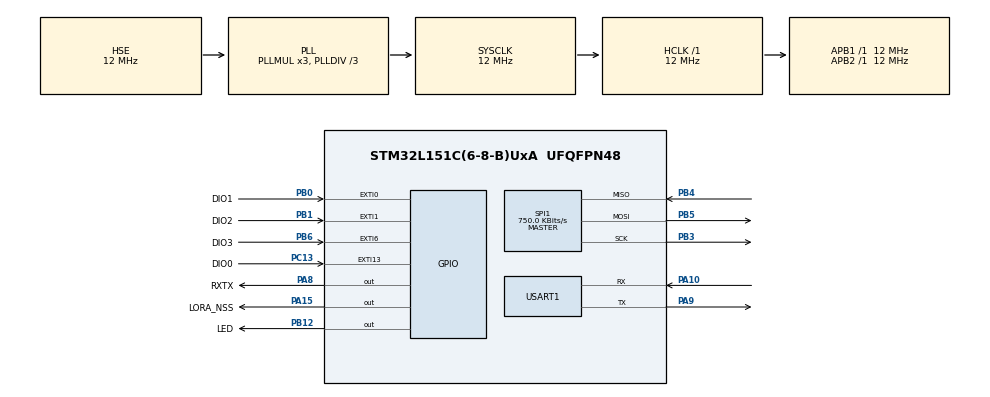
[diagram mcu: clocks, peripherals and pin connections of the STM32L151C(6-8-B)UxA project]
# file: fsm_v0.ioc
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FREERTOS.INCLUDE_vTaskDelayUntil=1
FREERTOS.INCLUDE_xTaskGetCurrentTaskHandle=1
FREERTOS.Tasks01=init,0,128,INIT,As weak,NULL,Dynamic,NULL,NULL
FREERTOS.configGENERATE_RUN_TIME_STATS=1
FREERTOS.configIDLE_SHOULD_YIELD=0
FREERTOS.configTIMER_TASK_PRIORITY=2
FREERTOS.configTIMER_TASK_STACK_DEPTH=128
FREERTOS.configUSE_IDLE_HOOK=0
FREERTOS.configUSE_MUTEXES=0
FREERTOS.configUSE_NEWLIB_REENTRANT=0
FREERTOS.configUSE_STATS_FORMATTING_FUNCTIONS=1
FREERTOS.configUSE_TASK_NOTIFICATIONS=1
FREERTOS.configUSE_TICKLESS_IDLE=0
FREERTOS.configUSE_TICK_HOOK=1
FREERTOS.configUSE_TRACE_FACILITY=1
Mcu.Family=STM32L1
Mcu.Name=STM32L151C(6-8-B)UxA
Mcu.Package=UFQFPN48
Mcu.UserConstants=BUFFER_SIZE,8
NVIC.EXTI0_IRQn=true\:6\:0\:true\:false\:true\:true\:true\:true\:true
NVIC.EXTI15_10_IRQn=true\:6\:0\:true\:false\:true\:true\:true\:true\:true
NVIC.EXTI1_IRQn=true\:6\:0\:true\:false\:true\:true\:true\:true\:true
NVIC.EXTI9_5_IRQn=true\:6\:0\:true\:false\:true\:true\:true\:true\:true
NVIC.PriorityGroup=NVIC_PRIORITYGROUP_4
NVIC.TIM2_IRQn=true\:15\:0\:true\:false\:true\:false\:false\:true\:true
NVIC.TIM3_IRQn=true\:1\:0\:true\:false\:true\:false\:true\:true\:true
NVIC.TimeBase=TIM2_IRQn
NVIC.TimeBaseIP=TIM2
NVIC.USART1_IRQn=true\:6\:0\:true\:false\:true\:true\:true\:true\:true
PA10.GPIO_PuPd=GPIO_PULLUP
PA10.Mode=Asynchronous
PA10.Signal=USART1_RX
PA15.GPIO_Label=LORA_NSS
PA15.GPIO_Speed=GPIO_SPEED_FREQ_VERY_HIGH
PA15.PinState=GPIO_PIN_SET
PA15.Signal=GPIO_Output
PA8.GPIO_Label=RXTX
PA8.GPIO_Speed=GPIO_SPEED_FREQ_VERY_HIGH
PA8.PinState=GPIO_PIN_RESET
PA8.Signal=GPIO_Output
PA9.GPIO_PuPd=GPIO_PULLUP
PA9.Mode=Asynchronous
PA9.Signal=USART1_TX
PB0.GPIO_Label=DIO1
PB0.Signal=GPXTI0
PB1.GPIO_Label=DIO2
PB1.Signal=GPXTI1
PB12.GPIO_Label=LED
PB12.GPIO_PuPd=GPIO_NOPULL
PB12.GPIO_Speed=GPIO_SPEED_FREQ_VERY_HIGH
PB12.PinState=GPIO_PIN_RESET
PB12.Signal=GPIO_Output
PB3.Mode=Full_Duplex_Master
PB3.Signal=SPI1_SCK
PB4.Mode=Full_Duplex_Master
PB4.Signal=SPI1_MISO
PB5.Mode=Full_Duplex_Master
PB5.Signal=SPI1_MOSI
PB6.GPIO_Label=DIO3
PB6.Signal=GPXTI6
PC13-WKUP2.GPIO_Label=DIO0
PC13-WKUP2.Signal=GPXTI13
PH0-OSC_IN.Mode=HSE-External-Oscillator
PH0-OSC_IN.Signal=RCC_OSC_IN
PH1-OSC_OUT.Mode=HSE-External-Oscillator
PH1-OSC_OUT.Signal=RCC_OSC_OUT
ProjectManager.HeapSize=0x200
ProjectManager.StackSize=0x400
ProjectManager.TargetToolchain=MDK-ARM V5.27
RCC.48MHZClocksFreq_Value=18000000
RCC.AHBFreq_Value=12000000
RCC.APB1Freq_Value=12000000
RCC.APB1TimFreq_Value=12000000
RCC.APB2Freq_Value=12000000
RCC.APB2TimFreq_Value=12000000
RCC.HCLKFreq_Value=12000000
RCC.HSE_VALUE=12000000
RCC.HSI_VALUE=16000000
RCC.LSE_VALUE=32768
RCC.MSI_VALUE=2097000
RCC.PLLDIV=RCC_PLL_DIV3
RCC.PLLSourceVirtual=RCC_PLLSOURCE_HSE
RCC.SYSCLKFreq_VALUE=12000000
RCC.SYSCLKSource=RCC_SYSCLKSOURCE_PLLCLK
RCC.VCOOutputFreq_Value=36000000
SPI1.BaudRatePrescaler=SPI_BAUDRATEPRESCALER_16
SPI1.CRCCalculation=SPI_CRCCALCULATION_DISABLE
SPI1.CalculateBaudRate=750.0 KBits/s
SPI1.Direction=SPI_DIRECTION_2LINES
SPI1.Mode=SPI_MODE_MASTER
SPI1.VirtualType=VM_MASTER
TIM3.Period=19
TIM3.Prescaler=5
USART1.VirtualMode=VM_ASYNC
VP_FREERTOS_VS_CMSIS_V1.Mode=CMSIS_V1
VP_SYS_VS_tim2.Mode=TIM2
VP_TIM3_VS_ClockSourceINT.Mode=Internal
board=custom

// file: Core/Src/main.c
/* USER CODE BEGIN Header */
/**
  ******************************************************************************
  * @file           : main.c
  * @brief          : Main program body
  ******************************************************************************
  * @attention
  *
  * Copyright (c) 2022 STMicroelectronics.
  * All rights reserved.
  *
  * This software is licensed under terms that can be found in the LICENSE file
  * in the root directory of this software component.
  * If no LICENSE file comes with this software, it is provided AS-IS.
  *
  ******************************************************************************
  */
/* USER CODE END Header */
#include "main.h"
#include "cmsis_os.h"
#include "spi.h"
#include "tim.h"
#include "usart.h"
#include "gpio.h"

void SystemClock_Config(void);
void MX_FREERTOS_Init(void);

int main(void)
{

  /* MCU Configuration--------------------------------------------------------*/

  /* Reset of all peripherals, Initializes the Flash interface and the Systick. */
  HAL_Init();

  /* Configure the system clock */
  SystemClock_Config();

  /* Initialize all configured peripherals */
  MX_GPIO_Init();
  MX_USART1_UART_Init();
  MX_SPI1_Init();
  MX_TIM3_Init();

  /* Call init function for freertos objects (in freertos.c) */
  MX_FREERTOS_Init();

  /* Start scheduler */
  osKernelStart();

  /* We should never get here as control is now taken by the scheduler */
  /* Infinite loop */
  while (1)
  {

  }
}

void SystemClock_Config(void)
{
  RCC_OscInitTypeDef RCC_OscInitStruct = {0};
  RCC_ClkInitTypeDef RCC_ClkInitStruct = {0};

  /** Configure the main internal regulator output voltage
  */
  __HAL_PWR_VOLTAGESCALING_CONFIG(PWR_REGULATOR_VOLTAGE_SCALE1);

  /** Initializes the RCC Oscillators according to the specified parameters
  * in the RCC_OscInitTypeDef structure.
  */
  RCC_OscInitStruct.OscillatorType = RCC_OSCILLATORTYPE_HSE;
  RCC_OscInitStruct.HSEState = RCC_HSE_ON;
  RCC_OscInitStruct.PLL.PLLState = RCC_PLL_ON;
  RCC_OscInitStruct.PLL.PLLSource = RCC_PLLSOURCE_HSE;
  RCC_OscInitStruct.PLL.PLLMUL = RCC_PLL_MUL3;
  RCC_OscInitStruct.PLL.PLLDIV = RCC_PLL_DIV3;
  if (HAL_RCC_OscConfig(&RCC_OscInitStruct) != HAL_OK)
  {
    Error_Handler();
  }

  /** Initializes the CPU, AHB and APB buses clocks
  */
  RCC_ClkInitStruct.ClockType = RCC_CLOCKTYPE_HCLK|RCC_CLOCKTYPE_SYSCLK
                              |RCC_CLOCKTYPE_PCLK1|RCC_CLOCKTYPE_PCLK2;
  RCC_ClkInitStruct.SYSCLKSource = RCC_SYSCLKSOURCE_PLLCLK;
  RCC_ClkInitStruct.AHBCLKDivider = RCC_SYSCLK_DIV1;
  RCC_ClkInitStruct.APB1CLKDivider = RCC_HCLK_DIV1;
  RCC_ClkInitStruct.APB2CLKDivider = RCC_HCLK_DIV1;

  if (HAL_RCC_ClockConfig(&RCC_ClkInitStruct, FLASH_LATENCY_0) != HAL_OK)
  {
    Error_Handler();
  }
}

void HAL_TIM_PeriodElapsedCallback(TIM_HandleTypeDef *htim)
{
  if (htim->Instance == TIM2) {
    HAL_IncTick();
  }
  /* USER CODE BEGIN Callback 1 */
  if (htim->Instance == TIM3) {
    CPU_RunTime++;
  }
  /* USER CODE END Callback 1 */
}

void Error_Handler(void)
{
  __disable_irq();
  while (1)
  {
  }
}

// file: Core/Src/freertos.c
/* USER CODE BEGIN Header */
/**
  ******************************************************************************
  * File Name          : freertos.c
  * Description        : Code for freertos applications
  ******************************************************************************
  * @attention
  *
  * Copyright (c) 2022 STMicroelectronics.
  * All rights reserved.
  *
  * This software is licensed under terms that can be found in the LICENSE file
  * in the root directory of this software component.
  * If no LICENSE file comes with this software, it is provided AS-IS.
  *
  ******************************************************************************
  */
// main.h -> hal_library, PIN;
/* USER CODE END Header */

#include "FreeRTOS.h"
#include "task.h"
#include "main.h"
#include "cmsis_os.h"

/* USER CODE BEGIN Includes */
#include "timers.h"
#include "usart.h"
#include "queue.h"
#include <stdio.h>
#include "fsm.h"
#include <stdbool.h>
#include "tim.h"
#include <string.h>
/* USER CODE END Includes */

/* USER CODE BEGIN PTD */
// #define DEBUG          // debug info
// #define FSM_TEST       // test fsm model
// #define MULI_TASK_FSM  // test multi-task model
// #define LED_FSM        // LED FSM
#define DATA_MOD_FSM   // Data Collection Module FSM

#ifdef MULI_TASK_FSM
typedef enum {Sensor1, Sensor2, Sensor3} LAYER1EVENT;
#endif

#ifdef LED_FSM
enum xEventSignals {
  TIMEOUT_SIG = USER_SIG
};

typedef struct {
  xActive super;
  xTimeEvent te;
  bool is_led_on;
  uint32_t blink_time;
} xLedFsm;
#endif

#ifdef DATA_MOD_FSM
#define STACK_SIZE (configMINIMAL_STACK_SIZE * 4)
enum xEventSignals {
  SENSOR1_SIG = USER_SIG,
  SENSOR2_SIG,
  SENSOR3_SIG,
  CPU_SIG
};

typedef struct {
  xActive super;
  xTimeEvent te1;
  xTimeEvent te2;
  xTimeEvent te3;
  xTimeEvent cpu;
  uint32_t interval1;
  uint32_t interval2;
  uint32_t interval3;
  uint32_t interval4;
} xDataModFsm;

//static TaskHandle_t xCPUTaskHandle;
//StaticTask_t xCPUTCB;
//StackType_t xCPUStack[STACK_SIZE];
#define CPU_BUFFER_SIZE 400
static uint8_t cpu_runinfo[CPU_BUFFER_SIZE];
#endif
/* USER CODE END PTD */

/* USER CODE BEGIN PD */
#ifdef LED_FSM
#define LED_AO_QUEUE_LEN 10U
#endif

#ifdef DATA_MOD_FSM
#define DATA_MOD_AO_QUEUE_LEN 10U
#endif
/* USER CODE END PD */

/* USER CODE BEGIN Variables */
#ifdef MULI_TASK_FSM
extern UART_HandleTypeDef huart1;
LAYER1STATE xLayer1States;

static TimerHandle_t xTimer1;
static TimerHandle_t xTimer2;
static TimerHandle_t xTimer3;
staitc TaskHandle_t xFSMTaskHandle;
static QueueHandle_t xLayer1Queue;
static int param = 1;
/* USER CODE END Variables */
osThreadId initHandle;

/* USER CODE BEGIN FunctionPrototypes */
static void vTimer1Callback(TimerHandle_t xTimer1);
static void vTimer2Callback(TimerHandle_t xTimer2);
static void vTimer3Callback(TimerHandle_t xTimer3);

static void vFSMTaskEntry(void *parameter);
#endif

#ifdef LED_FSM
static void vLedFsmDispatch(xLedFsm * const me, xEvent const * const e) {
  switch (e->sig) {
    case INIT_SIG:
      LED_ON();
      me->is_led_on = true;
      vTimeEventArm(&me->te, me->blink_time, me->blink_time);
#ifdef DEBUG
      printf("init\r\n");
#endif
      break;
    case TIMEOUT_SIG:
      printf("timeout\r\n");
      if (!me->is_led_on) { /* led is not on */
        LED_ON();
        me->is_led_on = true;
      } else {
        LED_OFF();
        me->is_led_on = false;
      }
      break;
  }
}

void vLedConstructor(xLedFsm * const me) {
  vActiveConstructor(&me->super, (vDispatchHandler)&vLedFsmDispatch);
  vTimeEventConstructor(&me->te, TIMEOUT_SIG, &me->super);
  me->is_led_on = false;
  me->blink_time = 1000;
}

static xLedFsm x_led_fsm;
xActive *act_led_fsm = &x_led_fsm.super;
#endif

#ifdef DATA_MOD_FSM
static void vDataModFsmDispatch(xDataModFsm * const me, xEvent const * const e) {
  switch (e->sig) {
    case INIT_SIG:
      LED_ON();
      vTimeEventArm(&me->te1, me->interval1, me->interval1);
      vTimeEventArm(&me->te2, me->interval2, me->interval2);
      vTimeEventArm(&me->te3, me->interval3, me->interval3);
      break;
    case SENSOR1_SIG:
      __NOP();
      printf("sensor1.\r\n");
      break;
    case SENSOR2_SIG:
      __NOP();
      printf("sensor2.\r\n");
      break;
    case SENSOR3_SIG:
      __NOP();
      printf("sensor3.\r\n");
    case CPU_SIG:
      memset(cpu_runinfo, 0, CPU_BUFFER_SIZE);
      vTaskList((char *) cpu_runinfo);
      printf("--------------------------------------------------\r\n");
      printf("Name                  Status  Prio   Stack     Seq\r\n");
      printf("%s", cpu_runinfo);
      printf("--------------------------------------------------\r\n");

      memset(cpu_runinfo, 0, CPU_BUFFER_SIZE);
      vTaskGetRunTimeStats((char *) cpu_runinfo);
      printf("Name                  Count          Usage\r\n");
      printf("%s", cpu_runinfo);
      printf("--------------------------------------------------\r\n");
    default:
      break;
  }
}

void vDataModConstructor(xDataModFsm * const me) {
  vActiveConstructor(&me->super, (vDispatchHandler)&vDataModFsmDispatch);
  vTimeEventConstructor(&me->te1, SENSOR1_SIG, &me->super);
  vTimeEventConstructor(&me->te2, SENSOR2_SIG, &me->super);
  vTimeEventConstructor(&me->te3, SENSOR3_SIG, &me->super);
  vTimeEventConstructor(&me->cpu, CPU_SIG, &me->super);

  me->interval1 = 1000;
  me->interval2 = 2000;
  me->interval3 = 4000;
  me->interval4 = 8000;
}

static xDataModFsm x_data_mod_fsm;
xActive *act_data_mod_fsm = &x_data_mod_fsm.super;

//static void vCPUTaskEntry(void *parameter)
//{
//  TickType_t xLastWakeTime;
//  const TickType_t xFrequency = 8000;
//  xLastWakeTime = xTaskGetTickCount();
//  uint8_t *cpu_runinfo = (uint8_t *)pvPortMalloc(400 * sizeof(uint8_t));
//  for (;;) {
//    vTaskDelayUntil(&xLastWakeTime, xFrequency);
//    memset(cpu_runinfo, 0, 400);
//    vTaskList((char *) cpu_runinfo);
//    printf("--------------------------------------------------\r\n");
//    printf("Name                  Status  Prio   Stack     Seq\r\n");
//    printf("%s", cpu_runinfo);
//    printf("--------------------------------------------------\r\n");

//    memset(cpu_runinfo, 0, 400);
//    vTaskGetRunTimeStats((char *) cpu_runinfo);
//    printf("Name                  Count          Usage\r\n");
//    printf("%s", cpu_runinfo);
//    printf("--------------------------------------------------\r\n");
//  }
//}
#endif
/* USER CODE END FunctionPrototypes */

void INIT(void const * argument);

void MX_FREERTOS_Init(void); /* (MISRA C 2004 rule 8.1) */

/* GetIdleTaskMemory prototype (linked to static allocation support) */
void vApplicationGetIdleTaskMemory( StaticTask_t **ppxIdleTaskTCBBuffer, StackType_t **ppxIdleTaskStackBuffer, uint32_t *pulIdleTaskStackSize );

/* Hook prototypes */
void configureTimerForRunTimeStats(void);
unsigned long getRunTimeCounterValue(void);
void vApplicationTickHook(void);

/* USER CODE BEGIN 1 */
/* Functions needed when configGENERATE_RUN_TIME_STATS is on */
__weak void configureTimerForRunTimeStats(void)
{
  CPU_RunTime = 0UL;
}

__weak unsigned long getRunTimeCounterValue(void)
{
  return CPU_RunTime;
}
/* USER CODE END 1 */

/* USER CODE BEGIN 3 */
void vApplicationTickHook( void )
{
   /* This function will be called by each tick interrupt if
   configUSE_TICK_HOOK is set to 1 in FreeRTOSConfig.h. User code can be
   added here, but the tick hook is called from an interrupt context, so
   code must not attempt to block, and only the interrupt safe FreeRTOS API
   functions can be used (those that end in FromISR()). */
  vTimeEventTickFromISR();
}
/* USER CODE END 3 */

/* USER CODE BEGIN GET_IDLE_TASK_MEMORY */
static StaticTask_t xIdleTaskTCBBuffer;
static StackType_t xIdleStack[configMINIMAL_STACK_SIZE];

void vApplicationGetIdleTaskMemory( StaticTask_t **ppxIdleTaskTCBBuffer, StackType_t **ppxIdleTaskStackBuffer, uint32_t *pulIdleTaskStackSize )
{
  *ppxIdleTaskTCBBuffer = &xIdleTaskTCBBuffer;
  *ppxIdleTaskStackBuffer = &xIdleStack[0];
  *pulIdleTaskStackSize = configMINIMAL_STACK_SIZE;
  /* place for user code */
}
/* USER CODE END GET_IDLE_TASK_MEMORY */

void MX_FREERTOS_Init(void) {
  /* USER CODE BEGIN Init */
#ifdef LED_FSM
  vLedConstructor(&x_led_fsm);
  vActiveStart(
    act_led_fsm, tskIDLE_PRIORITY + 1, LED_AO_QUEUE_LEN, configMINIMAL_STACK_SIZE * 4
  );
#endif

#ifdef DATA_MOD_FSM
  vDataModConstructor(&x_data_mod_fsm);
  vActiveStart(
    act_data_mod_fsm, tskIDLE_PRIORITY + 1, DATA_MOD_AO_QUEUE_LEN, STACK_SIZE
  );
  // xCPUTaskHandle = xTaskCreateStatic(vCPUTaskEntry, "cpuinfo", STACK_SIZE, NULL, tskIDLE_PRIORITY + 2, xCPUStack, &xCPUTCB);
#endif

#ifdef FSM_TEST
  struct tmp_struct {
    QueueHandle_t p_queue;
  };

  struct tmp_struct * p_struct = (struct tmp_struct *) pvPortMalloc(sizeof(struct tmp_struct));
  uint16_t send_data = 5;
  uint16_t receive_data;
  BaseType_t xReturn;
  p_struct->p_queue = xQueueCreate(5, sizeof(uint16_t));
  xReturn = xQueueSend(p_struct->p_queue, &send_data, 0U);
  if (xReturn == pdTRUE) {
    printf("send success.\r\n");
  }
  xReturn = xQueueReceive(p_struct->p_queue, &receive_data, portMAX_DELAY);
  if (xReturn == pdTRUE) {
    printf("%d %d\r\n", send_data, receive_data);
  }
  while (1) {}
#endif

  /* USER CODE END Init */

  /* USER CODE BEGIN RTOS_TIMERS */
  /* start timers, add new ones, ... */
#ifdef MULI_TASK_FSM
  xTimer1 = xTimerCreate("Timer1", 1, pdTRUE, (void *) 1, vTimer1Callback);
  if (xTimer1 != NULL) {
    xTimerStart(xTimer1, 0);
  }
  xTimer2 = xTimerCreate("Timer2", 2, pdTRUE, (void *) 2, vTimer2Callback);
  if (xTimer1 != NULL) {
    xTimerStart(xTimer2, 0);
  }
  xTimer3 = xTimerCreate("Timer3", 3, pdTRUE, (void *) 3, vTimer3Callback);
  if (xTimer1 != NULL) {
    xTimerStart(xTimer3, 0);
  }

  /* USER CODE END RTOS_TIMERS */

  /* USER CODE BEGIN RTOS_QUEUES */
  /* add queues, ... */
  xLayer1Queue = xQueueCreate(5, sizeof(LAYER1EVENT));

  /* USER CODE END RTOS_QUEUES */

  /* Create the thread(s) */
  /* definition and creation of init */
  osThreadDef(init, INIT, osPriorityNormal, 0, 128);
  initHandle = osThreadCreate(osThread(init), NULL);

  /* USER CODE BEGIN RTOS_THREADS */
  /* add threads, ... */
  xTaskCreate(vFSMTaskEntry, "fsm", (uint16_t) 128 * 4, (void *) NULL, tskIDLE_PRIORITY + 1, &xFSMTaskHandle);
#endif
  /* USER CODE END RTOS_THREADS */

}

/* USER CODE BEGIN Header_INIT */
#ifdef MULI_TASK_FSM
/**
  * @brief  Function implementing the init thread.
  * @param  argument: Not used
  * @retval None
  */
/* USER CODE END Header_INIT */
__weak void INIT(void const * argument)
{
  for(;;)
  {
    osDelay(1);
  }
}

/* USER CODE BEGIN Application */
static void vTimer1Callback(TimerHandle_t xTimer1) {
  configASSERT(xTimer1);
  printf("%d\r\n", xTaskGetTickCount());
  LAYER1EVENT xEvent = Sensor1;
  BaseType_t xReturn = xQueueSend(xLayer1Queue, (void *) &xEvent, (TickType_t) 0);
  if (xReturn == errQUEUE_FULL)
    printf("queue faild\r\n");
}

static void vTimer2Callback(TimerHandle_t xTimer2) {
  configASSERT(xTimer2);
  printf("%d\r\n", xTaskGetTickCount());
  LAYER1EVENT xEvent = Sensor2;
  BaseType_t xReturn = xQueueSend(xLayer1Queue, (void *) &xEvent, (TickType_t) 0);
  if (xReturn == errQUEUE_FULL)
    printf("queue faild\r\n");
}

static void vTimer3Callback(TimerHandle_t xTimer3) {
  configASSERT(xTimer3);
  printf("%d\r\n", xTaskGetTickCount());
  LAYER1EVENT xEvent = Sensor3;
  BaseType_t xReturn = xQueueSend(xLayer1Queue, (void *) &xEvent, (TickType_t) 0);
  if (xReturn == errQUEUE_FULL)
    printf("queue faild\r\n");
}

static void vFSMTaskEntry(void *parameter) {
  LAYER1EVENT xEvent;
  BaseType_t xReturn;
  while (1) {
    xReturn = xQueueReceive(xLayer1Queue, &xEvent, portMAX_DELAY);
    if (xReturn == pdTRUE) {
      switch (xEvent) {
        case Sensor1:
          printf("sensor1\r\n");
          break;
        case Sensor2:
          printf("sensor2\r\n");
          break;
        case Sensor3:
          printf("sensor3\r\n");
          break;
        default:
          break;
      }
    }
    else
      printf("receive failed\r\n");
  }
}
#endif
/* USER CODE END Application */
